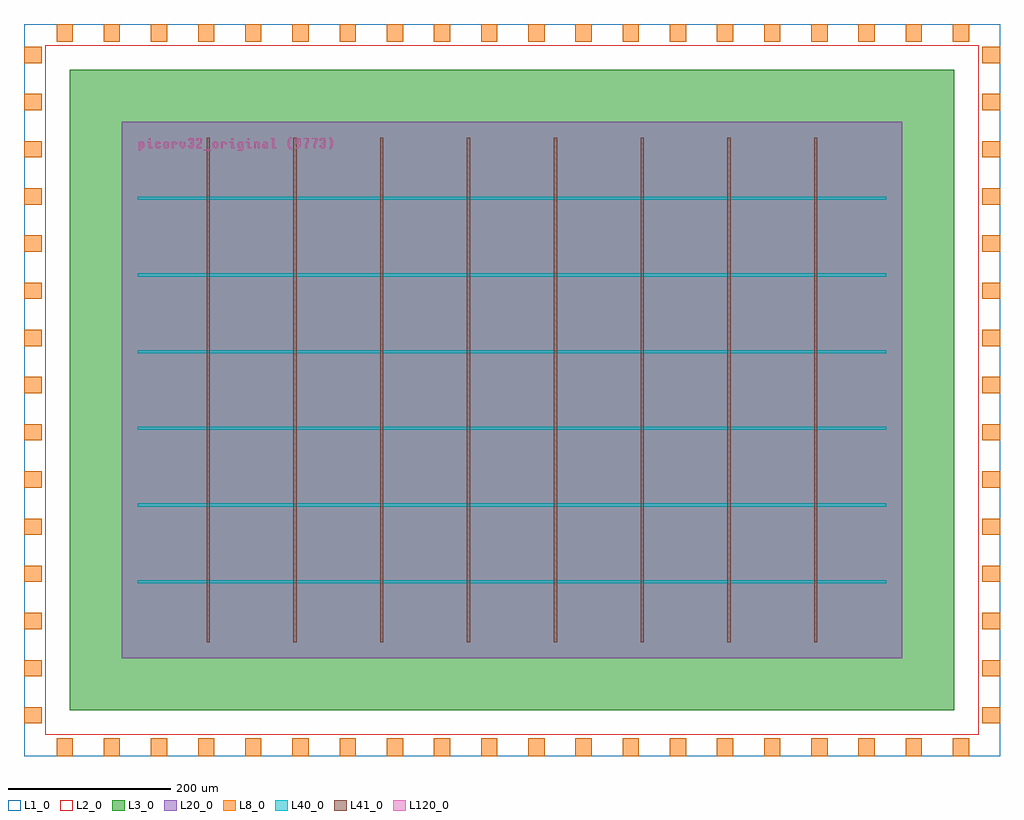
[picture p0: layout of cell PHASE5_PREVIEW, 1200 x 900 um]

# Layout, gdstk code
import gdstk
lib = gdstk.Library(unit=1e-6, precision=1e-09)
def R(c, l, rs):  # rectangles x0, y0, x1, y1
    for r in rs: c.add(gdstk.rectangle(r[:2], r[2:], *l))
def A(c, l, x, y, w, h, nx, ny, dx, dy):  # array of equal rectangles
    R(c, l, [(x+i*dx, y+j*dy, x+i*dx+w, y+j*dy+h) for i in range(nx) for j in range(ny)])
def P(c, l, *ps):  # polygons
    for p in ps: c.add(gdstk.Polygon(p, *l))
L1_0 = (1, 0)
L2_0 = (2, 0)
L3_0 = (3, 0)
L8_0 = (8, 0)
L20_0 = (20, 0)
L40_0 = (40, 0)
L41_0 = (41, 0)
L120_0 = (120, 0)

phase5_preview = lib.new_cell('PHASE5_PREVIEW')
R(phase5_preview, L1_0, [(0,0,1200,900)])
R(phase5_preview, L2_0, [(26,26,1174,874)])
R(phase5_preview, L3_0, [(56,56,1144,844)])
A(phase5_preview, L8_0, 40, 0, 20, 22, 20, 2, 58, 878)
A(phase5_preview, L8_0, 0, 40, 22, 20, 1, 15, 0, 58)
A(phase5_preview, L8_0, 1178, 40, 22, 20, 1, 15, 0, 58)
R(phase5_preview, L20_0, [(120,120,1080,780)])
A(phase5_preview, L40_0, 140, 306.571, 920, 4, 1, 4, 0, 94.286)
R(phase5_preview, L40_0, [(140,212.286,1060,216.286), (140,683.714,1060,687.714)])
A(phase5_preview, L41_0, 331.333, 140, 4, 620, 3, 1, 106.667, 0)
A(phase5_preview, L41_0, 651.333, 140, 4, 620, 3, 1, 106.667, 0)
R(phase5_preview, L41_0, [(224.667,140,228.667,760), (971.333,140,975.333,760)])
R(phase5_preview, L120_0, [(221,744,230,745.125), (153.5,757.5,155.75,759.75), (254.75,757.5,257,759.75), (275,757.5,277.25,759.75)])
P(phase5_preview, L120_0, [(143.375,744),(143.375,747.375),(146.75,747.375),(146.75,748.5),(147.875,748.5),(147.875,754.125),(146.75,754.125),(146.75,755.25),(141.125,755.25),(141.125,748.5),(143.375,748.5),(143.375,754.125),(145.625,754.125),(145.625,748.5),(143.375,748.5),(141.125,748.5),(141.125,744)],
  [(153.5,747.375),(158,747.375),(158,748.5),(155.75,748.5),(155.75,755.25),(151.25,755.25),(151.25,754.125),(153.5,754.125)],
  [(161.375,748.5),(162.5,748.5),(162.5,747.375),(167,747.375),(167,748.5),(168.125,748.5),(168.125,749.625),(165.875,749.625),(165.875,748.5),(163.625,748.5),(163.625,754.125),(165.875,754.125),(165.875,753),(168.125,753),(168.125,754.125),(167,754.125),(167,755.25),(162.5,755.25),(162.5,754.125),(161.375,754.125)],
  [(178.25,754.125),(177.125,754.125),(177.125,755.25),(172.625,755.25),(172.625,754.125),(171.5,754.125),(171.5,748.5),(173.75,748.5),(173.75,754.125),(176,754.125),(176,748.5),(173.75,748.5),(171.5,748.5),(172.625,748.5),(172.625,747.375),(177.125,747.375),(177.125,748.5),(178.25,748.5)],
  [(183.875,747.375),(183.875,754.125),(186.125,754.125),(186.125,751.875),(188.375,751.875),(188.375,754.125),(187.25,754.125),(187.25,755.25),(181.625,755.25),(181.625,747.375)],
  [(192.875,749.625),(192.875,748.5),(194,748.5),(194,747.375),(196.25,747.375),(196.25,748.5),(197.375,748.5),(197.375,749.625),(198.5,749.625),(198.5,755.25),(196.25,755.25),(196.25,749.625),(194,749.625),(194,755.25),(191.75,755.25),(191.75,749.625)],
  [(203,748.5),(203,747.375),(207.5,747.375),(207.5,748.5),(208.625,748.5),(208.625,753),(207.5,753),(207.5,754.125),(208.625,754.125),(208.625,758.625),(207.5,758.625),(207.5,759.75),(203,759.75),(203,758.625),(201.875,758.625),(201.875,756.375),(204.125,756.375),(204.125,758.625),(206.375,758.625),(206.375,754.125),(204.125,754.125),(204.125,753),(206.375,753),(206.375,748.5),(204.125,748.5),(204.125,750.75),(201.875,750.75),(201.875,748.5)],
  [(212,756.375),(214.25,756.375),(214.25,758.625),(216.5,758.625),(216.5,754.125),(215.375,754.125),(215.375,753),(214.25,753),(214.25,751.875),(213.125,751.875),(213.125,750.75),(212,750.75),(212,747.375),(218.75,747.375),(218.75,748.5),(214.25,748.5),(214.25,750.75),(215.375,750.75),(215.375,751.875),(216.5,751.875),(216.5,753),(217.625,753),(217.625,754.125),(218.75,754.125),(218.75,758.625),(217.625,758.625),(217.625,759.75),(213.125,759.75),(213.125,758.625),(212,758.625)],
  [(239,754.125),(237.875,754.125),(237.875,755.25),(233.375,755.25),(233.375,754.125),(232.25,754.125),(232.25,748.5),(234.5,748.5),(234.5,754.125),(236.75,754.125),(236.75,748.5),(234.5,748.5),(232.25,748.5),(233.375,748.5),(233.375,747.375),(237.875,747.375),(237.875,748.5),(239,748.5)],
  [(244.625,747.375),(244.625,754.125),(246.875,754.125),(246.875,751.875),(249.125,751.875),(249.125,754.125),(248,754.125),(248,755.25),(242.375,755.25),(242.375,747.375)],
  [(254.75,747.375),(259.25,747.375),(259.25,748.5),(257,748.5),(257,755.25),(252.5,755.25),(252.5,754.125),(254.75,754.125)],
  [(267.125,745.125),(262.625,745.125),(262.625,744),(268.25,744),(268.25,745.125),(269.375,745.125),(269.375,755.25),(263.75,755.25),(263.75,754.125),(262.625,754.125),(262.625,748.5),(264.875,748.5),(264.875,754.125),(267.125,754.125),(267.125,748.5),(264.875,748.5),(262.625,748.5),(263.75,748.5),(263.75,747.375),(267.125,747.375)],
  [(275,747.375),(279.5,747.375),(279.5,748.5),(277.25,748.5),(277.25,755.25),(272.75,755.25),(272.75,754.125),(275,754.125)],
  [(285.125,747.375),(285.125,754.125),(287.375,754.125),(287.375,747.375),(289.625,747.375),(289.625,754.125),(288.5,754.125),(288.5,755.25),(282.875,755.25),(282.875,747.375)],
  [(298.625,754.125),(298.625,755.25),(294.125,755.25),(294.125,754.125),(297.5,754.125),(297.5,753),(294.125,753),(294.125,751.875),(293,751.875),(293,748.5),(295.25,748.5),(295.25,751.875),(297.5,751.875),(297.5,748.5),(295.25,748.5),(293,748.5),(294.125,748.5),(294.125,747.375),(299.75,747.375),(299.75,754.125)],
  [(305.375,747.375),(309.875,747.375),(309.875,748.5),(307.625,748.5),(307.625,759.75),(303.125,759.75),(303.125,758.625),(305.375,758.625)],
  [(325.625,757.5),(324.5,757.5),(324.5,749.625),(325.625,749.625),(325.625,747.375),(326.75,747.375),(326.75,746.25),(329,746.25),(329,747.375),(327.875,747.375),(327.875,749.625),(326.75,749.625),(326.75,757.5),(327.875,757.5),(327.875,759.75),(329,759.75),(329,760.875),(326.75,760.875),(326.75,759.75),(325.625,759.75)],
  [(338,749.625),(336.875,749.625),(336.875,748.5),(334.625,748.5),(334.625,747.375),(338,747.375),(338,748.5),(339.125,748.5),(339.125,749.625),(340.25,749.625),(340.25,758.625),(339.125,758.625),(339.125,759.75),(334.625,759.75),(334.625,758.625),(333.5,758.625),(333.5,754.125),(335.75,754.125),(335.75,758.625),(338,758.625),(338,754.125),(335.75,754.125),(333.5,754.125),(334.625,754.125),(334.625,753),(338,753)],
  [(348.125,755.25),(347,755.25),(347,753),(345.875,753),(345.875,747.375),(348.125,747.375),(348.125,753),(349.25,753),(349.25,755.25),(350.375,755.25),(350.375,759.75),(343.625,759.75),(343.625,758.625),(348.125,758.625)],
  [(358.25,755.25),(357.125,755.25),(357.125,753),(356,753),(356,747.375),(358.25,747.375),(358.25,753),(359.375,753),(359.375,755.25),(360.5,755.25),(360.5,759.75),(353.75,759.75),(353.75,758.625),(358.25,758.625)],
  [(365,748.5),(365,747.375),(369.5,747.375),(369.5,748.5),(370.625,748.5),(370.625,753),(369.5,753),(369.5,754.125),(370.625,754.125),(370.625,758.625),(369.5,758.625),(369.5,759.75),(365,759.75),(365,758.625),(363.875,758.625),(363.875,756.375),(366.125,756.375),(366.125,758.625),(368.375,758.625),(368.375,754.125),(366.125,754.125),(366.125,753),(368.375,753),(368.375,748.5),(366.125,748.5),(366.125,750.75),(363.875,750.75),(363.875,748.5)],
  [(376.25,757.5),(377.375,757.5),(377.375,749.625),(376.25,749.625),(376.25,747.375),(375.125,747.375),(375.125,746.25),(377.375,746.25),(377.375,747.375),(378.5,747.375),(378.5,749.625),(379.625,749.625),(379.625,757.5),(378.5,757.5),(378.5,759.75),(377.375,759.75),(377.375,760.875),(375.125,760.875),(375.125,759.75),(376.25,759.75)])

lib.write_gds('PHASE5_PREVIEW.gds')
